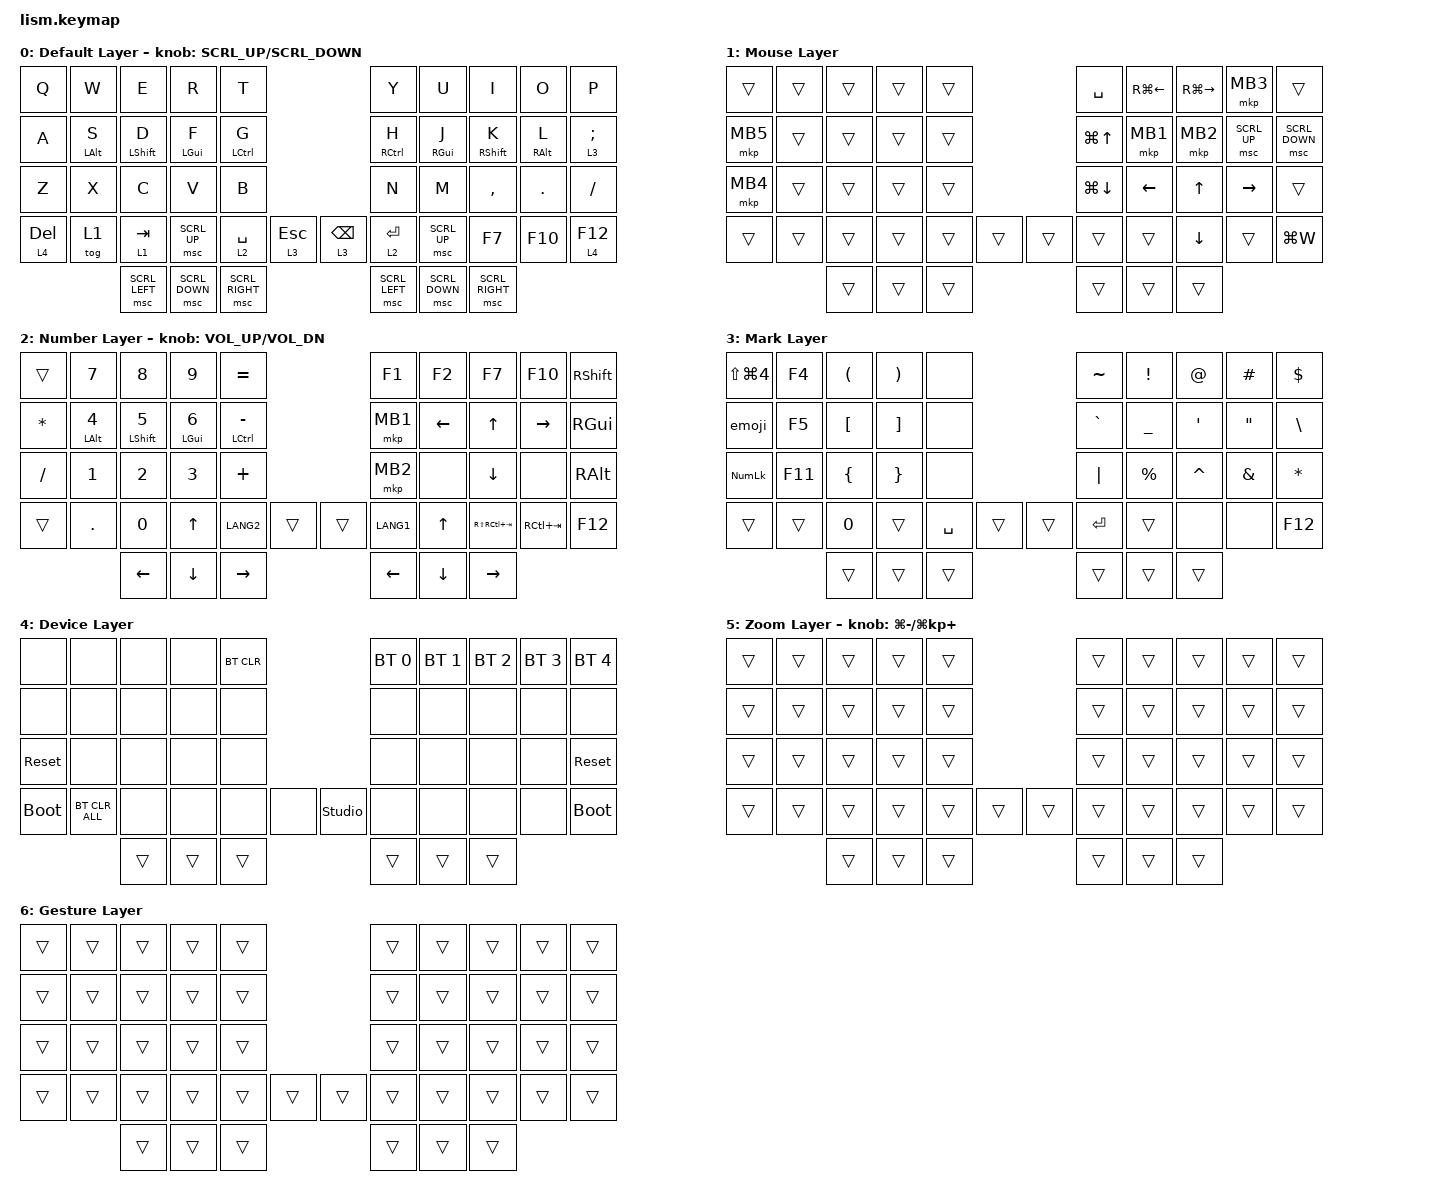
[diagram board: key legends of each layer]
#define ZMK_POINTING_DEFAULT_SCRL_VAL 200

#include <behaviors.dtsi>
#include <dt-bindings/zmk/bt.h>
#include <dt-bindings/zmk/keys.h>
#include <dt-bindings/zmk/pointing.h>
#include <dt-bindings/zmk/mouse.h>

&mt {
    tapping-term-ms = <300>;
    flavor = "balanced";
};

&lt {
    quick-tap-ms = <300>;
};


/ {
    macros {
        emoji: emoji_macro {
            compatible = "zmk,behavior-macro";
            label = "EMOJI";
            #binding-cells = <0>;
            bindings =
                <&macro_press &kp CAPSLOCK>,
                <&macro_tap &kp E>,
                <&macro_release &kp CAPSLOCK>;
        };
    };

    behaviors {
        encoder_msc: sensor_rotate_msc {
            compatible = "zmk,behavior-sensor-rotate-var";
            #sensor-binding-cells = <2>;
            bindings = <&msc>, <&msc>;
            tap-ms = <20>;
        };

        encoder_kp: sensor_rotate_kp {
            compatible = "zmk,behavior-sensor-rotate-var";
            #sensor-binding-cells = <2>;
            bindings = <&kp>, <&kp>;
        };
    };

    // I+O同時押しでGesture Layer(6)に一時的に切替。トラックボールの
    // スワイプ検出(trackball.overlayのlism_gesture)と組み合わせて、
    // デスクトップ移動/Mission Controlのジェスチャーを実現する。
    // 再有効化(2026-07-10): lism_gesture.cをセンサー処理から切り離す
    // より安全な設計に書き直した版でクリーン検証中。
    combos {
        compatible = "zmk,combos";
        combo_gesture_layer {
            timeout-ms = <50>;
            key-positions = <7 8>;
            bindings = <&mo 6>;
        };
    };

    keymap {
        compatible = "zmk,keymap";

        default_layer {
            display-name = "Default Layer";
            bindings = <
                &kp Q            &kp W              &kp E                 &kp R                   &kp T                                                  &kp Y          &kp U            &kp I              &kp O               &kp P
                &kp A            &mt LALT S         &mt LSHIFT D          &mt LGUI F              &mt LCTRL G                                            &mt RCTRL H    &mt RGUI J       &mt RSHIFT K       &mt RALT L          &lt 3 SEMICOLON
                &kp Z            &kp X              &kp C                 &kp V                   &kp B                                                  &kp N          &kp M            &kp COMMA          &kp DOT             &kp SLASH
                &lt 4 DELETE     &tog 1             &lt 1 TAB             &msc SCRL_UP            &lt 2 SPACE       &lt 3 ESC           &lt 3 BACKSPACE  &lt 2 ENTER    &msc SCRL_UP     &kp F7             &kp F10             &lt 4 F12 
                                                    &msc SCRL_LEFT        &msc SCRL_DOWN          &msc SCRL_RIGHT                                        &msc SCRL_LEFT &msc SCRL_DOWN   &msc SCRL_RIGHT
            >;
            sensor-bindings = <&encoder_msc SCRL_UP SCRL_DOWN>;
        };

        layer_1 {
            display-name = "Mouse Layer";
            bindings = <
                &trans           &trans             &trans                &trans                  &trans                                                 &kp SPACE      &kp RG(LEFT)     &kp RG(RIGHT)      &mkp MB3            &trans
                &mkp MB5         &trans             &trans                &trans                  &trans                                                 &kp LG(UP)     &mkp MB1         &mkp MB2           &msc SCRL_UP        &msc SCRL_DOWN
                &mkp MB4         &trans             &trans                &trans                  &trans                                                 &kp LG(DOWN)   &kp LEFT         &kp UP             &kp RIGHT           &trans
                &trans           &trans             &trans                &trans                  &trans            &trans              &trans           &trans         &trans           &kp DOWN           &trans              &kp LG(W)
                                                    &trans                &trans                  &trans                                                 &trans         &trans           &trans
            >;
        };

        layer_2 {
            display-name = "Number Layer";
            bindings = <
                &trans           &kp NUMBER_7       &kp NUMBER_8          &kp NUMBER_9            &kp EQUAL                                              &kp F1         &kp F2           &kp F7             &kp F10             &kp RSHIFT
                &kp ASTERISK     &mt LALT NUMBER_4  &mt LSHIFT NUMBER_5   &mt LGUI NUMBER_6       &mt LCTRL MINUS                                        &mkp MB1       &kp LEFT         &kp UP             &kp RIGHT           &kp RGUI
                &kp SLASH        &kp NUMBER_1       &kp NUMBER_2          &kp NUMBER_3            &kp PLUS                                               &mkp MB2       &none            &kp DOWN           &none               &kp RALT
                &trans           &kp DOT            &kp NUMBER_0          &kp UP                  &kp LANG2         &trans              &trans           &kp LANG1      &kp UP           &kp RS(RC(TAB))    &kp RC(TAB)         &kp F12 
                                                    &kp LEFT              &kp DOWN                &kp RIGHT                                              &kp LEFT       &kp DOWN         &kp RIGHT
            >;
            sensor-bindings = <&encoder_kp C_VOL_UP C_VOL_DN>;
        };

        layer_3 {
            display-name = "Mark Layer";
            bindings = <
                &kp LS(LG(N4))   &kp F4             &kp LEFT_PARENTHESIS  &kp RIGHT_PARENTHESIS   &none                                                  &kp TILDE      &kp EXCLAMATION  &kp AT_SIGN        &kp HASH            &kp DOLLAR
                &emoji           &kp F5             &kp LEFT_BRACKET      &kp RIGHT_BRACKET       &none                                                  &kp GRAVE      &kp UNDER        &kp SINGLE_QUOTE   &kp DOUBLE_QUOTES   &kp BACKSLASH
                &kp KP_NUMLOCK   &kp F11            &kp LEFT_BRACE        &kp RIGHT_BRACE         &none                                                  &kp PIPE       &kp PERCENT      &kp CARET          &kp AMPERSAND       &kp ASTERISK
                &trans           &trans             &kp NUMBER_0          &trans                  &kp SPACE         &trans              &trans           &kp ENTER      &trans           &none              &none               &kp F12 
                                                    &trans                &trans                  &trans                                                 &trans         &trans           &trans
            >;
        };

        layer_4 {
            display-name = "Device Layer";
            bindings = <
                &none            &none              &none                 &none                   &bt BT_CLR                                             &bt BT_SEL 0   &bt BT_SEL 1     &bt BT_SEL 2       &bt BT_SEL 3        &bt BT_SEL 4
                &none            &none              &none                 &none                   &none                                                  &none          &none            &none              &none               &none
                &sys_reset       &none              &none                 &none                   &none                                                  &none          &none            &none              &none               &sys_reset
                &bootloader      &bt BT_CLR_ALL     &none                 &none                   &none             &none               &studio_unlock   &none          &none            &none              &none               &bootloader
                                                    &trans                &trans                  &trans                                                 &trans         &trans           &trans
            >;
        };

        // マウスレイヤー上でコンボ(2キー同時押し)を押している間だけ一時的に
        // 重なる透明なレイヤー。キー割り当ては全部&trans(素通し)のままで、
        // エンコーダーの回転だけをズーム(Cmd+ / Cmd-)に差し替える。
        // ジェスチャーレイヤー(layer_6)と全く同じ考え方。
        layer_5 {
            display-name = "Zoom Layer";
            bindings = <
                &trans           &trans             &trans                &trans                  &trans                                                 &trans       &trans           &trans             &trans              &trans
                &trans           &trans             &trans                &trans                  &trans                                                 &trans       &trans           &trans             &trans              &trans
                &trans           &trans             &trans                &trans                  &trans                                                 &trans       &trans           &trans             &trans              &trans
                &trans           &trans             &trans                &trans                  &trans            &trans              &trans           &trans       &trans           &trans             &trans              &trans
                                                    &trans                &trans                  &trans                                                 &trans       &trans           &trans
            >;
            // 実機確認(2026-07-11): 親指を左に回す方向が拡大になるよう調整済み。
            // 拡大側は当初Cmd+Shift+=(2つの修飾キーを同時に使う方式)を試したが、
            // 単一パラメータにまとめる方式・マクロで明示的に押す方式のどちらも
            // 実機で問題が起きた(前者は反応せず、後者はエンコーダーの誤作動を
            // 引き起こした)。安全のため、縮小(Cmd+-)と同じ「修飾キー1つだけ」の
            // 単純な方式に戻し、拡大にはテンキーの+(KP_PLUS、Shift不要)を使う
            sensor-bindings = <&encoder_kp LG(MINUS) LG(KP_PLUS)>;
        };

        layer_6 {
            display-name = "Gesture Layer";
            bindings = <
                &trans           &trans             &trans                &trans                  &trans                                                 &trans       &trans           &trans             &trans              &trans
                &trans           &trans             &trans                &trans                  &trans                                                 &trans       &trans           &trans             &trans              &trans
                &trans           &trans             &trans                &trans                  &trans                                                 &trans       &trans           &trans             &trans              &trans
                &trans           &trans             &trans                &trans                  &trans            &trans              &trans           &trans       &trans           &trans             &trans              &trans
                                                    &trans                &trans                  &trans                                                 &trans       &trans           &trans
            >;
        };

        layer_7 {
            status = "reserved";
            display-name = "Brank Layer";
            bindings = <
                &trans           &trans             &trans                &trans                  &trans                                                 &trans       &trans           &trans             &trans              &trans
                &trans           &trans             &trans                &trans                  &trans                                                 &trans       &trans           &trans             &trans              &trans
                &trans           &trans             &trans                &trans                  &trans                                                 &trans       &trans           &trans             &trans              &trans
                &trans           &trans             &trans                &trans                  &trans            &trans              &trans           &trans       &trans           &trans             &trans              &trans
                                                    &trans                &trans                  &trans                                                 &trans       &trans           &trans
            >;
        };
    };

};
